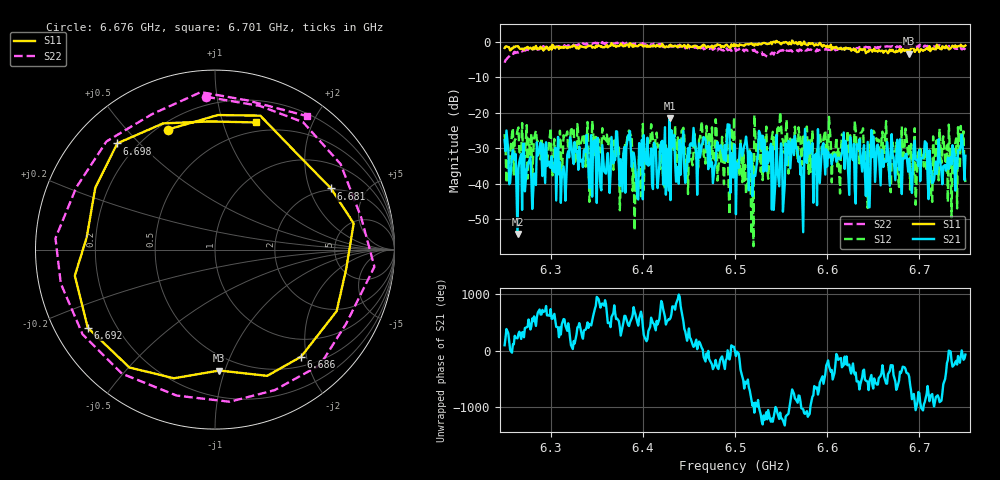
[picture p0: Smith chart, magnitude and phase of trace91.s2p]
# Hz S RI R 50
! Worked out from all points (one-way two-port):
!   401 points, 6.25 GHz to 6.75 GHz, reference 50 ohm
!   highest |S21| = -21.54 dB at 6.429 GHz (marker M1); lowest = -54.1 dB at 6.264 GHz (marker M2)
!   lowest |S11| = -3.4 dB at 6.689 GHz (marker M3), VSWR 5.14, Z = 19.4 - j47.9 ohm
!   |S11| at or under -10 dB: nowhere
!   |S22| runs from -5.9 to -0.1 dB; largest |S21 - S12| = 0.11
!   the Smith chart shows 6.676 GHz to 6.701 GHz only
!   S11 on the Smith chart (normalised r, x): 6.676 GHz: 0.24, +0.65; 6.681 GHz: 1.93, +2.83; 6.686 GHz: 0.66, -1.91; 6.692 GHz: 0.10, -0.28; 6.698 GHz: 0.13, +0.43; 6.701 GHz: 0.41, +1.29
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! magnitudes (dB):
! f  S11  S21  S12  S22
! 6.25 GHz  -1.8  -27.7  -26.0  -5.9
! 6.264 GHz  -1.3  -54.1  -25.0  -2.9
! 6.334 GHz  -1.4  -33.2  -27.6  -1.2
! 6.378 GHz  -1.2  -42.1  -36.4  -0.3
! 6.385 GHz  -1.5  -27.5  -25.0  -0.6
! 6.391 GHz  -1.3  -32.6  -53.1  -1.0
! 6.418 GHz  -1.4  -34.4  -29.2  -0.7
! 6.429 GHz  -1.0  -21.5  -36.0  -1.1
! 6.5 GHz  -1.2  -29.7  -38.4  -1.6
! 6.518 GHz  -0.5  -31.6  -54.2  -2.7
! 6.524 GHz  -0.8  -33.6  -34.4  -3.1
! 6.584 GHz  -0.5  -28.5  -24.9  -2.5
! 6.65 GHz  -2.4  -26.7  -25.1  -1.5
! 6.668 GHz  -2.2  -40.5  -38.8  -1.3
! 6.676 GHz  -2.9  -27.6  -36.0  -1.4
! 6.681 GHz  -2.7  -42.9  -23.8  -1.6
! 6.686 GHz  -2.3  -31.5  -26.7  -1.4
! 6.689 GHz  -3.4  -33.0  -28.6  -1.5
! 6.692 GHz  -1.6  -42.6  -32.3  -1.1
! 6.698 GHz  -1.9  -33.5  -32.8  -1.6
! 6.701 GHz  -2.6  -39.2  -29.5  -0.9
! 6.75 GHz  -1.1  -32.1  -39.5  -2.3
